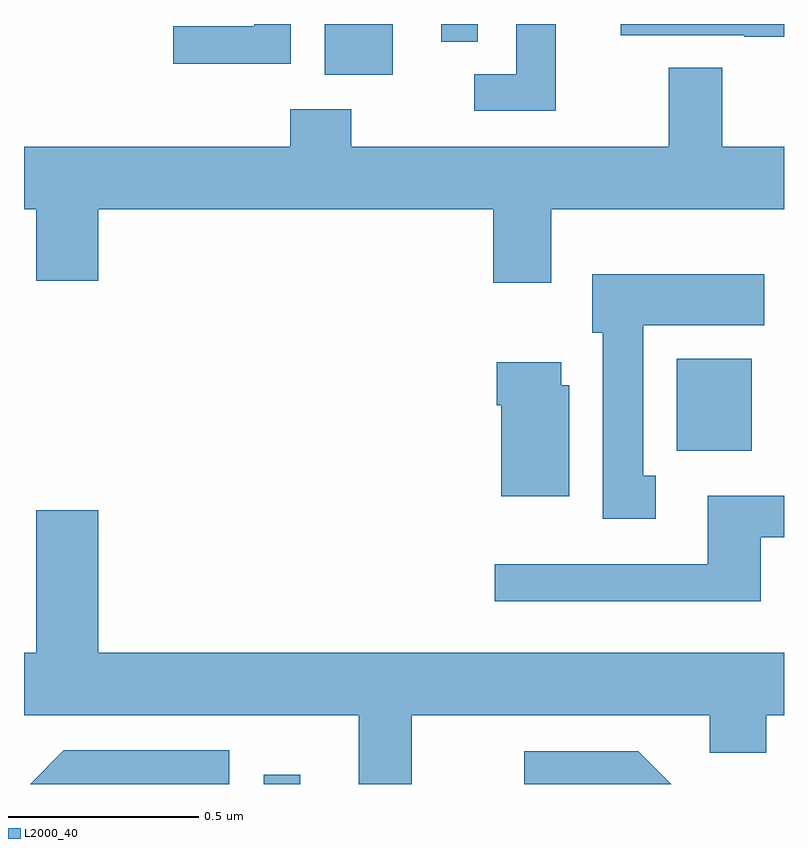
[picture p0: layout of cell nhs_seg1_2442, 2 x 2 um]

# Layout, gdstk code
import gdstk
lib = gdstk.Library(unit=1e-6, precision=1e-09)
def R(c, l, rs):  # rectangles x0, y0, x1, y1
    for r in rs: c.add(gdstk.rectangle(r[:2], r[2:], *l))
def P(c, l, *ps):  # polygons
    for p in ps: c.add(gdstk.Polygon(p, *l))
L2000_40 = (2000, 40)

nhs_seg1_2442 = lib.new_cell('nhs_seg1_2442')
R(nhs_seg1_2442, L2000_40, [(141.631,570.199,141.727,570.223), (142.718,571.076,142.915,571.318), (141.791,572.066,141.97,572.199), (142.098,572.152,142.194,572.199)])
P(nhs_seg1_2442, L2000_40, [(141.702,572.199),(141.606,572.199),(141.606,572.193),(141.393,572.193),(141.393,572.095),(141.702,572.095)],
  [(143,572.199),(142.571,572.199),(142.571,572.169),(142.895,572.169),(142.895,572.165),(143,572.165)],
  [(142.399,572.199),(142.295,572.199),(142.295,572.067),(142.185,572.067),(142.185,571.971),(142.399,571.971)],
  [(142.387,571.712),(143,571.712),(143,571.876),(142.837,571.876),(142.837,572.084),(142.697,572.084),(142.697,571.876),(141.861,571.876),(141.861,571.975),(141.701,571.975),(141.701,571.876),(141,571.876),(141,571.712),(141.032,571.712),(141.032,571.524),(141.196,571.524),(141.196,571.712),(142.235,571.712),(142.235,571.518),(142.387,571.518)],
  [(142.663,571.01),(142.63,571.01),(142.63,571.406),(142.948,571.406),(142.948,571.54),(142.496,571.54),(142.496,571.386),(142.523,571.386),(142.523,570.897),(142.663,570.897)],
  [(142.435,571.248),(142.414,571.248),(142.414,571.309),(142.244,571.309),(142.244,571.196),(142.256,571.196),(142.256,570.956),(142.435,570.956)],
  [(142.939,570.849),(143,570.849),(143,570.958),(142.799,570.958),(142.799,570.777),(142.239,570.777),(142.239,570.68),(142.939,570.68)],
  [(142.021,570.38),(142.805,570.38),(142.805,570.281),(142.953,570.281),(142.953,570.38),(143,570.38),(143,570.544),(141.196,570.544),(141.196,570.919),(141.032,570.919),(141.032,570.544),(141,570.544),(141,570.38),(141.881,570.38),(141.881,570.199),(142.021,570.199)],
  [(141.54,570.288),(141.105,570.288),(141.016,570.199),(141.54,570.199)],
  [(142.617,570.285),(142.317,570.285),(142.317,570.199),(142.703,570.199)])

lib.write_gds('nhs_seg1_2442.gds')
